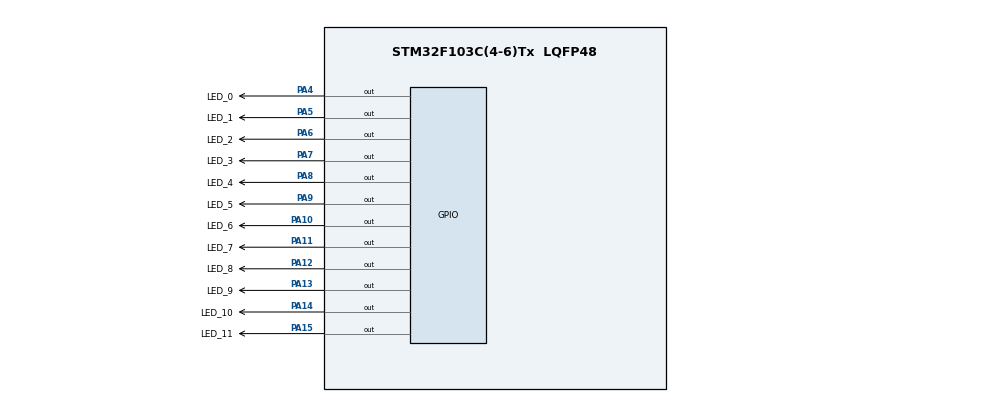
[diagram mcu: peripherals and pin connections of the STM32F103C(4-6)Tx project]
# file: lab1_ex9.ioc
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Mcu.Family=STM32F1
Mcu.Name=STM32F103C(4-6)Tx
Mcu.Package=LQFP48
NVIC.PriorityGroup=NVIC_PRIORITYGROUP_4
PA10.GPIO_Label=LED_6
PA10.Signal=GPIO_Output
PA11.GPIO_Label=LED_7
PA11.Signal=GPIO_Output
PA12.GPIO_Label=LED_8
PA12.Signal=GPIO_Output
PA13.GPIO_Label=LED_9
PA13.Signal=GPIO_Output
PA14.GPIO_Label=LED_10
PA14.Signal=GPIO_Output
PA15.GPIO_Label=LED_11
PA15.Signal=GPIO_Output
PA4.GPIO_Label=LED_0
PA4.Signal=GPIO_Output
PA5.GPIO_Label=LED_1
PA5.Signal=GPIO_Output
PA6.GPIO_Label=LED_2
PA6.Signal=GPIO_Output
PA7.GPIO_Label=LED_3
PA7.Signal=GPIO_Output
PA8.GPIO_Label=LED_4
PA8.Signal=GPIO_Output
PA9.GPIO_Label=LED_5
PA9.Signal=GPIO_Output
ProjectManager.HeapSize=0x200
ProjectManager.StackSize=0x400
ProjectManager.TargetToolchain=STM32CubeIDE
RCC.APB1Freq_Value=8000000
RCC.APB2Freq_Value=8000000
VP_SYS_VS_ND.Mode=No_Debug
board=custom

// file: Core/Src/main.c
/* USER CODE BEGIN Header */
/**
  ******************************************************************************
  * @file           : main.c
  * @brief          : Main program body
  ******************************************************************************
  * @attention
  *
  * <h2><center>&copy; Copyright (c) 2023 STMicroelectronics.
  * All rights reserved.</center></h2>
  *
  * This software component is licensed by ST under BSD 3-Clause license,
  * the "License"; You may not use this file except in compliance with the
  * License. You may obtain a copy of the License at:
  *                        opensource.org/licenses/BSD-3-Clause
  *
  ******************************************************************************
  */
/* USER CODE END Header */
#include "main.h"

void SystemClock_Config(void);
static void MX_GPIO_Init(void);

/* USER CODE BEGIN 0 */
void setAllClock()
{
	HAL_GPIO_WritePin(LED_0_GPIO_Port, LED_0_Pin, RESET);
	HAL_GPIO_WritePin(LED_1_GPIO_Port, LED_1_Pin, RESET);
	HAL_GPIO_WritePin(LED_2_GPIO_Port, LED_2_Pin, RESET);
	HAL_GPIO_WritePin(LED_3_GPIO_Port, LED_3_Pin, RESET);
	HAL_GPIO_WritePin(LED_4_GPIO_Port, LED_4_Pin, RESET);
	HAL_GPIO_WritePin(LED_5_GPIO_Port, LED_5_Pin, RESET);
	HAL_GPIO_WritePin(LED_6_GPIO_Port, LED_6_Pin, RESET);
	HAL_GPIO_WritePin(LED_7_GPIO_Port, LED_7_Pin, RESET);
	HAL_GPIO_WritePin(LED_8_GPIO_Port, LED_8_Pin, RESET);
	HAL_GPIO_WritePin(LED_9_GPIO_Port, LED_9_Pin, RESET);
	HAL_GPIO_WritePin(LED_10_GPIO_Port, LED_10_Pin, RESET);
	HAL_GPIO_WritePin(LED_11_GPIO_Port, LED_11_Pin, RESET);
}
void clearNumberOnClock(int num)
{
	switch (num)
	{
	case 0:
		HAL_GPIO_WritePin(LED_0_GPIO_Port, LED_0_Pin, SET);
		break;
	case 1:
		HAL_GPIO_WritePin(LED_1_GPIO_Port, LED_1_Pin, SET);
		break;
	case 2:
		HAL_GPIO_WritePin(LED_2_GPIO_Port, LED_2_Pin, SET);
		break;
	case 3:
		HAL_GPIO_WritePin(LED_3_GPIO_Port, LED_3_Pin, SET);
		break;
	case 4:
		HAL_GPIO_WritePin(LED_4_GPIO_Port, LED_4_Pin, SET);
		break;
	case 5:
		HAL_GPIO_WritePin(LED_5_GPIO_Port, LED_5_Pin, SET);
		break;
	case 6:
		HAL_GPIO_WritePin(LED_6_GPIO_Port, LED_6_Pin, SET);
		break;
	case 7:
		HAL_GPIO_WritePin(LED_7_GPIO_Port, LED_7_Pin, SET);
		break;
	case 8:
		HAL_GPIO_WritePin(LED_8_GPIO_Port, LED_8_Pin, SET);
		break;
	case 9:
		HAL_GPIO_WritePin(LED_9_GPIO_Port, LED_9_Pin, SET);
		break;
	case 10:
		HAL_GPIO_WritePin(LED_10_GPIO_Port, LED_10_Pin, SET);
		break;
	case 11:
		HAL_GPIO_WritePin(LED_11_GPIO_Port, LED_11_Pin, SET);
		break;
	}
}
/* USER CODE END 0 */

int main(void)
{

  /* MCU Configuration--------------------------------------------------------*/

  /* Reset of all peripherals, Initializes the Flash interface and the Systick. */
  HAL_Init();

  /* Configure the system clock */
  SystemClock_Config();

  /* Initialize all configured peripherals */
  MX_GPIO_Init();

  /* Infinite loop */
  /* USER CODE BEGIN WHILE */
  int test = 0;
  setAllClock();
  while (1)
  {
	  if (test >= 12)
	  {
		  setAllClock();
		  test = 0;
	  }
	  clearNumberOnClock(test);
	  test++;
    /* USER CODE END WHILE */
	  HAL_Delay(100);

  }
}

void SystemClock_Config(void)
{
  RCC_OscInitTypeDef RCC_OscInitStruct = {0};
  RCC_ClkInitTypeDef RCC_ClkInitStruct = {0};

  /** Initializes the RCC Oscillators according to the specified parameters
  * in the RCC_OscInitTypeDef structure.
  */
  RCC_OscInitStruct.OscillatorType = RCC_OSCILLATORTYPE_HSI;
  RCC_OscInitStruct.HSIState = RCC_HSI_ON;
  RCC_OscInitStruct.HSICalibrationValue = RCC_HSICALIBRATION_DEFAULT;
  RCC_OscInitStruct.PLL.PLLState = RCC_PLL_NONE;
  if (HAL_RCC_OscConfig(&RCC_OscInitStruct) != HAL_OK)
  {
    Error_Handler();
  }
  /** Initializes the CPU, AHB and APB buses clocks
  */
  RCC_ClkInitStruct.ClockType = RCC_CLOCKTYPE_HCLK|RCC_CLOCKTYPE_SYSCLK
                              |RCC_CLOCKTYPE_PCLK1|RCC_CLOCKTYPE_PCLK2;
  RCC_ClkInitStruct.SYSCLKSource = RCC_SYSCLKSOURCE_HSI;
  RCC_ClkInitStruct.AHBCLKDivider = RCC_SYSCLK_DIV1;
  RCC_ClkInitStruct.APB1CLKDivider = RCC_HCLK_DIV1;
  RCC_ClkInitStruct.APB2CLKDivider = RCC_HCLK_DIV1;

  if (HAL_RCC_ClockConfig(&RCC_ClkInitStruct, FLASH_LATENCY_0) != HAL_OK)
  {
    Error_Handler();
  }
}

static void MX_GPIO_Init(void)
{
  GPIO_InitTypeDef GPIO_InitStruct = {0};

  /* GPIO Ports Clock Enable */
  __HAL_RCC_GPIOA_CLK_ENABLE();

  /*Configure GPIO pin Output Level */
  HAL_GPIO_WritePin(GPIOA, LED_0_Pin|LED_1_Pin|LED_2_Pin|LED_3_Pin
                          |LED_4_Pin|LED_5_Pin|LED_6_Pin|LED_7_Pin
                          |LED_8_Pin|LED_9_Pin|LED_10_Pin|LED_11_Pin, GPIO_PIN_RESET);

  /*Configure GPIO pins : LED_0_Pin LED_1_Pin LED_2_Pin LED_3_Pin
                           LED_4_Pin LED_5_Pin LED_6_Pin LED_7_Pin
                           LED_8_Pin LED_9_Pin LED_10_Pin LED_11_Pin */
  GPIO_InitStruct.Pin = LED_0_Pin|LED_1_Pin|LED_2_Pin|LED_3_Pin
                          |LED_4_Pin|LED_5_Pin|LED_6_Pin|LED_7_Pin
                          |LED_8_Pin|LED_9_Pin|LED_10_Pin|LED_11_Pin;
  GPIO_InitStruct.Mode = GPIO_MODE_OUTPUT_PP;
  GPIO_InitStruct.Pull = GPIO_NOPULL;
  GPIO_InitStruct.Speed = GPIO_SPEED_FREQ_LOW;
  HAL_GPIO_Init(GPIOA, &GPIO_InitStruct);

}

void Error_Handler(void)
{
  __disable_irq();
  while (1)
  {
  }
}

/************************ (C) COPYRIGHT STMicroelectronics *****END OF FILE****/
